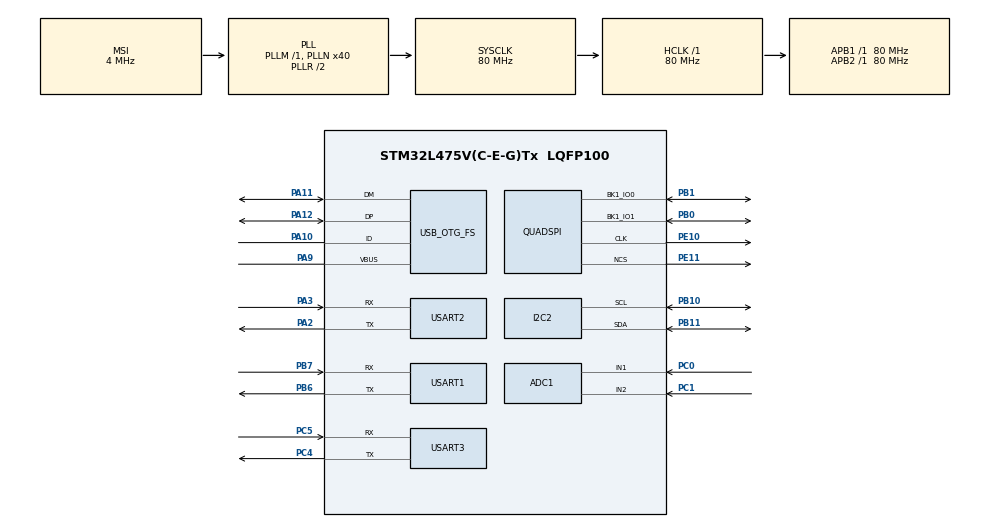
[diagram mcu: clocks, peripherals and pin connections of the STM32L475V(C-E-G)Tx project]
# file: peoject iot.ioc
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ADC1.Channel-0\#ChannelRegularConversion=ADC_CHANNEL_1
ADC1.EnableAnalogWatchDog1=true
ADC1.NbrOfConversionFlag=1
ADC1.OffsetNumber-0\#ChannelRegularConversion=ADC_OFFSET_NONE
ADC1.Rank-0\#ChannelRegularConversion=1
ADC1.SamplingTime-0\#ChannelRegularConversion=ADC_SAMPLETIME_2CYCLES_5
ADC1.SingleDiff-0\#ChannelRegularConversion=ADC_DIFFERENTIAL_ENDED
ADC1.WatchdogChannel=ADC_CHANNEL_1
ADC1.master=1
I2C2.Timing=0x10909CEC
Mcu.Family=STM32L4
Mcu.Name=STM32L475V(C-E-G)Tx
Mcu.Package=LQFP100
NVIC.ADC1_2_IRQn=true\:0\:0\:false\:false\:true\:true\:true\:true
NVIC.I2C2_ER_IRQn=true\:0\:0\:false\:false\:true\:true\:true\:true
NVIC.PriorityGroup=NVIC_PRIORITYGROUP_4
NVIC.TIM2_IRQn=true\:15\:0\:false\:false\:true\:false\:true\:true
NVIC.TimeBase=TIM2_IRQn
NVIC.TimeBaseIP=TIM2
NVIC.USART1_IRQn=true\:0\:0\:false\:false\:true\:true\:true\:true
NVIC.USART3_IRQn=true\:0\:0\:false\:false\:true\:true\:true\:true
PA10.Mode=OTG/Dual_Role_Device
PA10.Signal=USB_OTG_FS_ID
PA11.Mode=OTG/Dual_Role_Device
PA11.Signal=USB_OTG_FS_DM
PA12.Mode=OTG/Dual_Role_Device
PA12.Signal=USB_OTG_FS_DP
PA2.Mode=Asynchronous
PA2.Signal=USART2_TX
PA3.Mode=Asynchronous
PA3.Signal=USART2_RX
PA9.Mode=Activate_VBUS
PA9.Signal=USB_OTG_FS_VBUS
PB0.Mode=Single Bank 2IOs
PB0.Signal=QUADSPI_BK1_IO1
PB1.Mode=Single Bank 2IOs
PB1.Signal=QUADSPI_BK1_IO0
PB10.Mode=I2C
PB10.Signal=I2C2_SCL
PB11.Mode=I2C
PB11.Signal=I2C2_SDA
PB6.Mode=Asynchronous
PB6.Signal=USART1_TX
PB7.Mode=Asynchronous
PB7.Signal=USART1_RX
PC0.Signal=ADCx_IN1
PC1.Signal=ADCx_IN2
PC4.Mode=Asynchronous
PC4.Signal=USART3_TX
PC5.Mode=Asynchronous
PC5.Signal=USART3_RX
PE10.Mode=Single Bank 2IOs
PE10.Signal=QUADSPI_CLK
PE11.Mode=Single Bank 2IOs
PE11.Signal=QUADSPI_NCS
ProjectManager.HeapSize=0x200
ProjectManager.StackSize=0x400
ProjectManager.TargetToolchain=STM32CubeIDE
RCC.ADCFreq_Value=48000000
RCC.AHBFreq_Value=80000000
RCC.APB1Freq_Value=80000000
RCC.APB1TimFreq_Value=80000000
RCC.APB2Freq_Value=80000000
RCC.APB2TimFreq_Value=80000000
RCC.CortexFreq_Value=80000000
RCC.HCLKFreq_Value=80000000
RCC.HSE_VALUE=8000000
RCC.HSI_VALUE=16000000
RCC.LSE_VALUE=32768
RCC.MSI_VALUE=4000000
RCC.PLLN=40
RCC.PLLSAI1N=24
RCC.SYSCLKFreq_VALUE=80000000
RCC.SYSCLKSource=RCC_SYSCLKSOURCE_PLLCLK
RCC.USBFreq_Value=48000000
RCC.VCOOutputFreq_Value=160000000
SH.ADCx_IN1.0=ADC1_IN1,IN1-Differential
SH.ADCx_IN2.0=ADC1_IN2,IN1-Differential
USART1.VirtualMode-Asynchronous=VM_ASYNC
USART2.VirtualMode-Asynchronous=VM_ASYNC
USART3.VirtualMode-Asynchronous=VM_ASYNC
VP_SYS_VS_tim2.Mode=TIM2
board=custom

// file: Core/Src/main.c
/* USER CODE BEGIN Header */
/**
  ******************************************************************************
  * @file           : main.c
  * @brief          : Main program body
  ******************************************************************************
  * @attention
  *
  * Copyright (c) 2024 STMicroelectronics.
  * All rights reserved.
  *
  * This software is licensed under terms that can be found in the LICENSE file
  * in the root directory of this software component.
  * If no LICENSE file comes with this software, it is provided AS-IS.
  *
  ******************************************************************************
  */
/* USER CODE END Header */
#include "main.h"

/* USER CODE BEGIN Includes */
#include "stm32l475e_iot01.h"
#include "stm32l475e_iot01_tsensor.h"
#include "stm32l475e_iot01_hsensor.h"
#include "stm32l475e_iot01_psensor.h"

#include <math.h>
#include <stdio.h>
#include <string.h>

/* USER CODE END Includes */

ADC_HandleTypeDef hadc1;

I2C_HandleTypeDef hi2c2;

QSPI_HandleTypeDef hqspi;

UART_HandleTypeDef huart1;
UART_HandleTypeDef huart2;
UART_HandleTypeDef huart3;

/* USER CODE BEGIN PV */
float temp_value = 0;  // Measured temperature value
float humid_value = 0;  // Measured humidity value
float press_value = 0;  // Measured pressure value
float co_value =0,methane_value=0,co_valueppm=0 ;
int coInt1=0, coInt2=0;

float voltage_sensor;
double e_number=2.71828;

char str_co[100]="",str_meth[100];
char str_tmp[100] = ""; // Formatted message to display the temperature value
char str_humid[100] = ""; // Formatted message to display the humidity value
char str_press[100] = ""; // Formatted message to display the pressure value
char str_transmise[100] = "";
uint8_t msg1[] = "****** Temperature values measurement ******\n\n\r";
uint8_t msg2[] = "=====> Initialize Temperature sensor HTS221 \r\n";
uint8_t msg3[] = "=====> Temperature sensor HTS221 initialized \r\n ";

uint8_t msg4[] = "****** Humidity values measurement ******\n\n\r";
uint8_t msg5[] = "=====> Initialize Humidity sensor HTS221 \r\n";
uint8_t msg6[] = "=====> Humidity sensor HTS221 initialized \r\n ";

uint8_t msg7[] = "****** Pressure values measurement ******\n\n\r";
uint8_t msg8[] = "=====> Initialize Pressure sensor LPS22HB \r\n";
uint8_t msg9[] = "=====> Pressure sensor LPS22HB initialized \r\n ";

 char msg11[] = "Message 1";
 char msg12[] = "Message 2";
 char msg13[] = "Message 3";
 char delimiter[] = "\n"; // Delimiter for messages
 char buffer[100]; // Buffer to hold the concatenated message

/* USER CODE END PV */

void SystemClock_Config(void);
void PeriphCommonClock_Config(void);
static void MX_GPIO_Init(void);
static void MX_I2C2_Init(void);
static void MX_USART1_UART_Init(void);
static void MX_USART3_UART_Init(void);
static void MX_QUADSPI_Init(void);
static void MX_USB_OTG_FS_USB_Init(void);
static void MX_USART2_UART_Init(void);
static void MX_ADC1_Init(void);

/* USER CODE BEGIN 0 */
/*-----------------------------------------------------------*/

/* USER CODE END 0 */

int main(void)
{

  /* MCU Configuration--------------------------------------------------------*/

  /* Reset of all peripherals, Initializes the Flash interface and the Systick. */
  HAL_Init();

  /* Configure the system clock */
  SystemClock_Config();

/* Configure the peripherals common clocks */
  PeriphCommonClock_Config();

  /* Initialize all configured peripherals */
  MX_GPIO_Init();
  MX_I2C2_Init();
  MX_USART1_UART_Init();
  MX_USART3_UART_Init();
  MX_QUADSPI_Init();
  MX_USB_OTG_FS_USB_Init();
  MX_USART2_UART_Init();
  MX_ADC1_Init();
  /* USER CODE BEGIN 2 */

  HAL_UART_Transmit(&huart1,msg1,sizeof(msg1),1000);
  HAL_UART_Transmit(&huart1,msg2,sizeof(msg2),1000);
  BSP_TSENSOR_Init();
  HAL_UART_Transmit(&huart1,msg3,sizeof(msg3),1000);

  HAL_UART_Transmit(&huart1,msg4,sizeof(msg4),1000);
  HAL_UART_Transmit(&huart1,msg5,sizeof(msg5),1000);
  BSP_HSENSOR_Init();
  HAL_UART_Transmit(&huart1,msg6,sizeof(msg6),1000);

  HAL_UART_Transmit(&huart1,msg7,sizeof(msg7),1000);
  HAL_UART_Transmit(&huart1,msg8,sizeof(msg8),1000);
  BSP_PSENSOR_Init();
  HAL_UART_Transmit(&huart1,msg9,sizeof(msg9),1000);

  /* USER CODE BEGIN 2 */

  /* USER CODE END 2 */

  /* Infinite loop */
  while (1)
   {

    /* USER CODE BEGIN 3 */

 	    temp_value  = BSP_TSENSOR_ReadTemp();
 	    humid_value = BSP_HSENSOR_ReadHumidity();
 	    press_value = BSP_PSENSOR_ReadPressure();

 	         HAL_ADC_Start(&hadc1);
 	        HAL_ADC_PollForConversion(&hadc1, 500);

 	        voltage_sensor = HAL_ADC_GetValue(&hadc1);
 	        voltage_sensor=(voltage_sensor/4095)*5;
 	  		voltage_sensor=(voltage_sensor*1.515151515151515);
 	  		co_value=3.027*(pow(e_number , (1.0698*voltage_sensor)));
 	  	     coInt1 = (int)co_value;
 		    float coFrac = co_value - coInt1;
 	         coInt2 = (int)(coFrac * 100);

 	  		 	       // Use the concentration value as needed
 	        snprintf(str_co, 100, "CO2 Value: %d.%02d ppm\n\r", coInt1, coInt2);
 	  	    HAL_UART_Transmit(&huart1, (uint8_t *)str_co, strlen(str_co), 1000);

 	  /* if (HAL_ADC_PollForConversion(&hadc1, HAL_MAX_DELAY) == HAL_OK) {
 	       uint32_t adcValue = HAL_ADC_GetValue(&hadc1);
 	       float voltage = (adcValue / 4095.0) * 3.3; // Assuming 12-bit resolution and 3.3V reference voltage

 	       // Example conversion formula for CO2 (replace with the actual formula)
 	       float concentration = (voltage - 0.1) * 100; // Adjust this formula according to your sensor's datasheet
 	       int coInt1 = (int)concentration;
 	       float coFrac = concentration - coInt1;
 	       int coInt2 = (int)(coFrac * 100);

 	       // Use the concentration value as needed
 	       snprintf(str_co, 100, "CO2 Value: %d.%02d ppm\n\r", coInt1, coInt2);
 	       HAL_UART_Transmit(&huart1, (uint8_t *)str_co, strlen(str_co), 1000);
 	   }*/

 	    /*Process temperature value */
 	    int tmpInt1 = temp_value;
 	    float tmpFrac = temp_value - tmpInt1;
 	    int tmpInt2 = trunc(tmpFrac * 100);
 	    snprintf(str_tmp, 100, "TEMPERATURE = %d.%02d\n\r", tmpInt1, tmpInt2);
 	    HAL_UART_Transmit(&huart1, (uint8_t *)str_tmp, strlen(str_tmp), 1000);

 	    /* Process humidity value */
 	    int humInt1 = humid_value;
 	    float humFrac = humid_value - humInt1;
 	    int humInt2 = trunc(humFrac * 100);
 	    snprintf(str_humid, 100, "HUMIDITY = %d.%02d\n\r", humInt1, humInt2);
 	    HAL_UART_Transmit(&huart1, (uint8_t *)str_humid, strlen(str_humid), 1000);

 	    int pressInt1 = press_value;
 	    float pressFrac = press_value - pressInt1;
 	    int pressInt2 = trunc(pressFrac * 100);
 	    snprintf(str_press,100," PRESSURE = %d.%02d\n\r", pressInt1, pressInt2);

 	    HAL_UART_Transmit(&huart1,( uint8_t *)str_tmp,sizeof(str_tmp),1000);
 	    HAL_UART_Transmit(&huart1,( uint8_t *)str_humid,sizeof(str_humid),1000);
 	    HAL_UART_Transmit(&huart1,( uint8_t *)str_press,sizeof(str_press),1000);

 	    snprintf(str_transmise, 100, "%d.%02d %d.%02d %d.%02d %d.%02d\n\r", tmpInt1, tmpInt2,humInt1, humInt2,pressInt1, pressInt2, coInt1, coInt2);

 	    HAL_UART_Transmit(&huart3, (uint8_t*)str_transmise, strlen(str_transmise), HAL_MAX_DELAY);
 	    HAL_Delay(1000);

   } /* USER CODE BEGIN 3 */

  /* USER CODE END 3 */
}

void SystemClock_Config(void)
{
  RCC_OscInitTypeDef RCC_OscInitStruct = {0};
  RCC_ClkInitTypeDef RCC_ClkInitStruct = {0};

  /** Configure the main internal regulator output voltage
  */
  if (HAL_PWREx_ControlVoltageScaling(PWR_REGULATOR_VOLTAGE_SCALE1) != HAL_OK)
  {
    Error_Handler();
  }

  /** Initializes the RCC Oscillators according to the specified parameters
  * in the RCC_OscInitTypeDef structure.
  */
  RCC_OscInitStruct.OscillatorType = RCC_OSCILLATORTYPE_MSI;
  RCC_OscInitStruct.MSIState = RCC_MSI_ON;
  RCC_OscInitStruct.MSICalibrationValue = 0;
  RCC_OscInitStruct.MSIClockRange = RCC_MSIRANGE_6;
  RCC_OscInitStruct.PLL.PLLState = RCC_PLL_ON;
  RCC_OscInitStruct.PLL.PLLSource = RCC_PLLSOURCE_MSI;
  RCC_OscInitStruct.PLL.PLLM = 1;
  RCC_OscInitStruct.PLL.PLLN = 40;
  RCC_OscInitStruct.PLL.PLLP = RCC_PLLP_DIV7;
  RCC_OscInitStruct.PLL.PLLQ = RCC_PLLQ_DIV2;
  RCC_OscInitStruct.PLL.PLLR = RCC_PLLR_DIV2;
  if (HAL_RCC_OscConfig(&RCC_OscInitStruct) != HAL_OK)
  {
    Error_Handler();
  }

  /** Initializes the CPU, AHB and APB buses clocks
  */
  RCC_ClkInitStruct.ClockType = RCC_CLOCKTYPE_HCLK|RCC_CLOCKTYPE_SYSCLK
                              |RCC_CLOCKTYPE_PCLK1|RCC_CLOCKTYPE_PCLK2;
  RCC_ClkInitStruct.SYSCLKSource = RCC_SYSCLKSOURCE_PLLCLK;
  RCC_ClkInitStruct.AHBCLKDivider = RCC_SYSCLK_DIV1;
  RCC_ClkInitStruct.APB1CLKDivider = RCC_HCLK_DIV1;
  RCC_ClkInitStruct.APB2CLKDivider = RCC_HCLK_DIV1;

  if (HAL_RCC_ClockConfig(&RCC_ClkInitStruct, FLASH_LATENCY_4) != HAL_OK)
  {
    Error_Handler();
  }
}

void PeriphCommonClock_Config(void)
{
  RCC_PeriphCLKInitTypeDef PeriphClkInit = {0};

  /** Initializes the peripherals clock
  */
  PeriphClkInit.PeriphClockSelection = RCC_PERIPHCLK_USB|RCC_PERIPHCLK_ADC;
  PeriphClkInit.AdcClockSelection = RCC_ADCCLKSOURCE_PLLSAI1;
  PeriphClkInit.UsbClockSelection = RCC_USBCLKSOURCE_PLLSAI1;
  PeriphClkInit.PLLSAI1.PLLSAI1Source = RCC_PLLSOURCE_MSI;
  PeriphClkInit.PLLSAI1.PLLSAI1M = 1;
  PeriphClkInit.PLLSAI1.PLLSAI1N = 24;
  PeriphClkInit.PLLSAI1.PLLSAI1P = RCC_PLLP_DIV7;
  PeriphClkInit.PLLSAI1.PLLSAI1Q = RCC_PLLQ_DIV2;
  PeriphClkInit.PLLSAI1.PLLSAI1R = RCC_PLLR_DIV2;
  PeriphClkInit.PLLSAI1.PLLSAI1ClockOut = RCC_PLLSAI1_48M2CLK|RCC_PLLSAI1_ADC1CLK;
  if (HAL_RCCEx_PeriphCLKConfig(&PeriphClkInit) != HAL_OK)
  {
    Error_Handler();
  }
}

static void MX_ADC1_Init(void)
{

  ADC_MultiModeTypeDef multimode = {0};
  ADC_AnalogWDGConfTypeDef AnalogWDGConfig = {0};
  ADC_ChannelConfTypeDef sConfig = {0};

  /** Common config
  */
  hadc1.Instance = ADC1;
  hadc1.Init.ClockPrescaler = ADC_CLOCK_ASYNC_DIV1;
  hadc1.Init.Resolution = ADC_RESOLUTION_12B;
  hadc1.Init.DataAlign = ADC_DATAALIGN_RIGHT;
  hadc1.Init.ScanConvMode = ADC_SCAN_DISABLE;
  hadc1.Init.EOCSelection = ADC_EOC_SINGLE_CONV;
  hadc1.Init.LowPowerAutoWait = DISABLE;
  hadc1.Init.ContinuousConvMode = DISABLE;
  hadc1.Init.NbrOfConversion = 1;
  hadc1.Init.DiscontinuousConvMode = DISABLE;
  hadc1.Init.ExternalTrigConv = ADC_SOFTWARE_START;
  hadc1.Init.ExternalTrigConvEdge = ADC_EXTERNALTRIGCONVEDGE_NONE;
  hadc1.Init.DMAContinuousRequests = DISABLE;
  hadc1.Init.Overrun = ADC_OVR_DATA_PRESERVED;
  hadc1.Init.OversamplingMode = DISABLE;
  if (HAL_ADC_Init(&hadc1) != HAL_OK)
  {
    Error_Handler();
  }

  /** Configure the ADC multi-mode
  */
  multimode.Mode = ADC_MODE_INDEPENDENT;
  if (HAL_ADCEx_MultiModeConfigChannel(&hadc1, &multimode) != HAL_OK)
  {
    Error_Handler();
  }

  /** Configure Analog WatchDog 1
  */
  AnalogWDGConfig.WatchdogNumber = ADC_ANALOGWATCHDOG_1;
  AnalogWDGConfig.WatchdogMode = ADC_ANALOGWATCHDOG_SINGLE_REG;
  AnalogWDGConfig.Channel = ADC_CHANNEL_1;
  AnalogWDGConfig.ITMode = DISABLE;
  AnalogWDGConfig.HighThreshold = 0;
  AnalogWDGConfig.LowThreshold = 0;
  if (HAL_ADC_AnalogWDGConfig(&hadc1, &AnalogWDGConfig) != HAL_OK)
  {
    Error_Handler();
  }

  /** Configure Regular Channel
  */
  sConfig.Channel = ADC_CHANNEL_1;
  sConfig.Rank = ADC_REGULAR_RANK_1;
  sConfig.SamplingTime = ADC_SAMPLETIME_2CYCLES_5;
  sConfig.SingleDiff = ADC_DIFFERENTIAL_ENDED;
  sConfig.OffsetNumber = ADC_OFFSET_NONE;
  sConfig.Offset = 0;
  if (HAL_ADC_ConfigChannel(&hadc1, &sConfig) != HAL_OK)
  {
    Error_Handler();
  }

}

static void MX_I2C2_Init(void)
{

  hi2c2.Instance = I2C2;
  hi2c2.Init.Timing = 0x10909CEC;
  hi2c2.Init.OwnAddress1 = 0;
  hi2c2.Init.AddressingMode = I2C_ADDRESSINGMODE_7BIT;
  hi2c2.Init.DualAddressMode = I2C_DUALADDRESS_DISABLE;
  hi2c2.Init.OwnAddress2 = 0;
  hi2c2.Init.OwnAddress2Masks = I2C_OA2_NOMASK;
  hi2c2.Init.GeneralCallMode = I2C_GENERALCALL_DISABLE;
  hi2c2.Init.NoStretchMode = I2C_NOSTRETCH_DISABLE;
  if (HAL_I2C_Init(&hi2c2) != HAL_OK)
  {
    Error_Handler();
  }

  /** Configure Analogue filter
  */
  if (HAL_I2CEx_ConfigAnalogFilter(&hi2c2, I2C_ANALOGFILTER_ENABLE) != HAL_OK)
  {
    Error_Handler();
  }

  /** Configure Digital filter
  */
  if (HAL_I2CEx_ConfigDigitalFilter(&hi2c2, 0) != HAL_OK)
  {
    Error_Handler();
  }

}

static void MX_QUADSPI_Init(void)
{

  /* QUADSPI parameter configuration*/
  hqspi.Instance = QUADSPI;
  hqspi.Init.ClockPrescaler = 255;
  hqspi.Init.FifoThreshold = 1;
  hqspi.Init.SampleShifting = QSPI_SAMPLE_SHIFTING_NONE;
  hqspi.Init.FlashSize = 1;
  hqspi.Init.ChipSelectHighTime = QSPI_CS_HIGH_TIME_1_CYCLE;
  hqspi.Init.ClockMode = QSPI_CLOCK_MODE_0;
  if (HAL_QSPI_Init(&hqspi) != HAL_OK)
  {
    Error_Handler();
  }

}

static void MX_USART1_UART_Init(void)
{

  huart1.Instance = USART1;
  huart1.Init.BaudRate = 115200;
  huart1.Init.WordLength = UART_WORDLENGTH_8B;
  huart1.Init.StopBits = UART_STOPBITS_1;
  huart1.Init.Parity = UART_PARITY_NONE;
  huart1.Init.Mode = UART_MODE_TX_RX;
  huart1.Init.HwFlowCtl = UART_HWCONTROL_NONE;
  huart1.Init.OverSampling = UART_OVERSAMPLING_16;
  huart1.Init.OneBitSampling = UART_ONE_BIT_SAMPLE_DISABLE;
  huart1.AdvancedInit.AdvFeatureInit = UART_ADVFEATURE_NO_INIT;
  if (HAL_UART_Init(&huart1) != HAL_OK)
  {
    Error_Handler();
  }

}

static void MX_USART2_UART_Init(void)
{

  huart2.Instance = USART2;
  huart2.Init.BaudRate = 115200;
  huart2.Init.WordLength = UART_WORDLENGTH_8B;
  huart2.Init.StopBits = UART_STOPBITS_1;
  huart2.Init.Parity = UART_PARITY_NONE;
  huart2.Init.Mode = UART_MODE_TX_RX;
  huart2.Init.HwFlowCtl = UART_HWCONTROL_NONE;
  huart2.Init.OverSampling = UART_OVERSAMPLING_16;
  huart2.Init.OneBitSampling = UART_ONE_BIT_SAMPLE_DISABLE;
  huart2.AdvancedInit.AdvFeatureInit = UART_ADVFEATURE_NO_INIT;
  if (HAL_UART_Init(&huart2) != HAL_OK)
  {
    Error_Handler();
  }

}

static void MX_USART3_UART_Init(void)
{

  huart3.Instance = USART3;
  huart3.Init.BaudRate = 115200;
  huart3.Init.WordLength = UART_WORDLENGTH_8B;
  huart3.Init.StopBits = UART_STOPBITS_1;
  huart3.Init.Parity = UART_PARITY_NONE;
  huart3.Init.Mode = UART_MODE_TX_RX;
  huart3.Init.HwFlowCtl = UART_HWCONTROL_NONE;
  huart3.Init.OverSampling = UART_OVERSAMPLING_16;
  huart3.Init.OneBitSampling = UART_ONE_BIT_SAMPLE_DISABLE;
  huart3.AdvancedInit.AdvFeatureInit = UART_ADVFEATURE_NO_INIT;
  if (HAL_UART_Init(&huart3) != HAL_OK)
  {
    Error_Handler();
  }

}

static void MX_USB_OTG_FS_USB_Init(void)
{

}

static void MX_GPIO_Init(void)
{
  GPIO_InitTypeDef GPIO_InitStruct = {0};

  /* GPIO Ports Clock Enable */
  __HAL_RCC_GPIOC_CLK_ENABLE();
  __HAL_RCC_GPIOA_CLK_ENABLE();
  __HAL_RCC_GPIOB_CLK_ENABLE();
  __HAL_RCC_GPIOE_CLK_ENABLE();

  /*Configure GPIO pin : PA9 */
  GPIO_InitStruct.Pin = GPIO_PIN_9;
  GPIO_InitStruct.Mode = GPIO_MODE_INPUT;
  GPIO_InitStruct.Pull = GPIO_NOPULL;
  HAL_GPIO_Init(GPIOA, &GPIO_InitStruct);

  /*Configure GPIO pins : PA10 PA11 PA12 */
  GPIO_InitStruct.Pin = GPIO_PIN_10|GPIO_PIN_11|GPIO_PIN_12;
  GPIO_InitStruct.Mode = GPIO_MODE_AF_PP;
  GPIO_InitStruct.Pull = GPIO_NOPULL;
  GPIO_InitStruct.Speed = GPIO_SPEED_FREQ_VERY_HIGH;
  GPIO_InitStruct.Alternate = GPIO_AF10_OTG_FS;
  HAL_GPIO_Init(GPIOA, &GPIO_InitStruct);

}

void HAL_TIM_PeriodElapsedCallback(TIM_HandleTypeDef *htim)
{
  if (htim->Instance == TIM2) {
    HAL_IncTick();
  }
}

void Error_Handler(void)
{
  __disable_irq();
  while (1)
  {
  }
}
